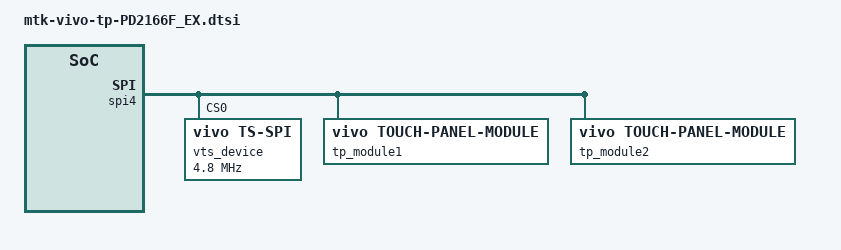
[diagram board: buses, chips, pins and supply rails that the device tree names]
&pio {
	pd2166_tp_spi_mode: clk_mode_default {
		pins_cmd_dat {
			pinmux = <PINMUX_GPIO97__FUNC_SPI4_CLK>;
			drive-strength = <1>;
		};
	};
	pd2166_tp_spi_mosi_mode: mosi_mode_default {
		pins_cmd_dat {
			pinmux = <PINMUX_GPIO13__FUNC_SPI4_MO>;
			drive-strength = <0>;
		};
	};
};

&spi4 {
	status = "okay";
	vts_device@0 {
		compatible = "vivo,ts-spi";
		status = "okay";
		reg=<0>;
		spi-max-frequency = <4800000>;
		pinctrl-names = "default";
		pinctrl-0 = <&pd2166_tp_spi_mode &pd2166_tp_spi_mosi_mode>;

		ili_9882n {
			status = "okay";
			compatible = "tchip,ilitek";
			vts-type=<0>;
			vts-ic-number=<91>;
			spi-max-frequency = <9600000>;
			touch,reset-gpio = <&pio 186 0x00>;
			touch,irq-gpio = <&pio 14 0x2001>;

			sensor-test-key="com.ilitek.touchscreen.tptest3X:MP3XActivity:com.ilitek.touchscreen.action.tptest:0:ILITEK_TpTestResult";
			lcm-noise-test-key="com.ilitek.touchscreen.noisev2:MainActivity:null:null:null"; 
			rawdata-test-key="com.ilitek.touchscreen.noisev2:DataShowActivity:null:null:null";
			rf-noise-test-key="com.ilitek.touchscreen.noisev2:BspTestActivity:com.ilitek.touchscreen.action.noisetest:0:ILITEK_TpTestResult";
			//vts-incell-panel=<&dsi_pd2034_tm_ili9882n_hdplus_video &dsi_pd2034_inx_ili9882n_hdplus_video>;
		};
		ft8720 {
			compatible = "focaltech,ft8756_v2";
			vts-type=<0>;
			vts-ic-number=<38>;
			spi-max-frequency = <8000000>;	//4800000,9600000,15000000,19200000
			focaltech,ic_name = "ft8720";
			focaltech,reset-gpio = <&pio 186 0x00>;
			focaltech,irq-gpio = <&pio 14 0x02>;
			focaltech,cs-gpio = <&pio 98 0x00>;
			focaltech,max-touch-number = <10>;
			focaltech,display-coords = <0 0 1080 2408>;
			focaltech,vts-gesture-separate = <1>;
			focaltech,vts-reset-poweroff = <1>;
			spi-cs-setuptime = <27>;
			
			sensor-test-key="com.focaltouchscreen.sensortest:MainActivity:com.focaltouchscreen.sensortest:0:focal_test_result";
			lcm-noise-test-key="com.focaltech.deltadiff:MainActivity:null:null:null";
			rawdata-test-key="com.focaltech.deltadiff:DataActivity:null:null:null";
			rf-noise-test-key="com.focaltech.deltadiff:BspTestActivity:com.focaltech.deltadiff:0:testResult";
			
			//vts-incell-panel = <&dsi_pd2073_dj_ft8720_dsc_fhd_120_video>;
		};	

	};

	tp_module1 {
		compatible = "vivo,touch-panel-module";
		vts-ic-number=<91>;
		vts-type=<0>;
		vts-lcmid=<16>;// CPD2117 TMG5.5 incell ILI7807S 1211770/1211807
		vts-dimention-x=<1080>;
		vts-dimention-y=<2408>;
		vts-tx-sensors=<16>;
		vts-rx-sensors=<36>;
		vts-incell=<1>;
 		vts-need-caliberation=<0>;
 		vts-virtual-proximinity=<0>;
 		vts-long-press=<0>;
		vts-module-vendor=<0xF0>;
		vts-no-flash=<1>;
		vts-gesture=<1>;
		vts-game-mode=<1>;
		vts-game-save-power=<1>;
	};
	tp_module2 {
		compatible = "vivo,touch-panel-module";
		vts-ic-number=<38>;
		vts-type=<0>;
		vts-dimention-x=<1080>;
		vts-dimention-y=<2408>;
		vts-tx-sensors=<16>;
		vts-rx-sensors=<36>;
		vts-incell=<1>;
		vts-gesture=<1>;
		vts-need-caliberation=<0>;
		vts-virtual-proximinity=<0>;
		vts-long-press=<0>;
		vts-module-vendor=<0xC0>;
		vts-no-flash=<1>;
		vts-game-mode=<1>;
		vts-game-idle-time=<10>;
		vts-report-timestamp=<1>;
		vts-lcmid=<129>;// CPD2117 FT8720+CSOT incell 1211794
		vts-no-flash-unique-code=<1>;
		//vts-set-blank=<1>;
		vts-game-save-power=<1>;
	};

};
